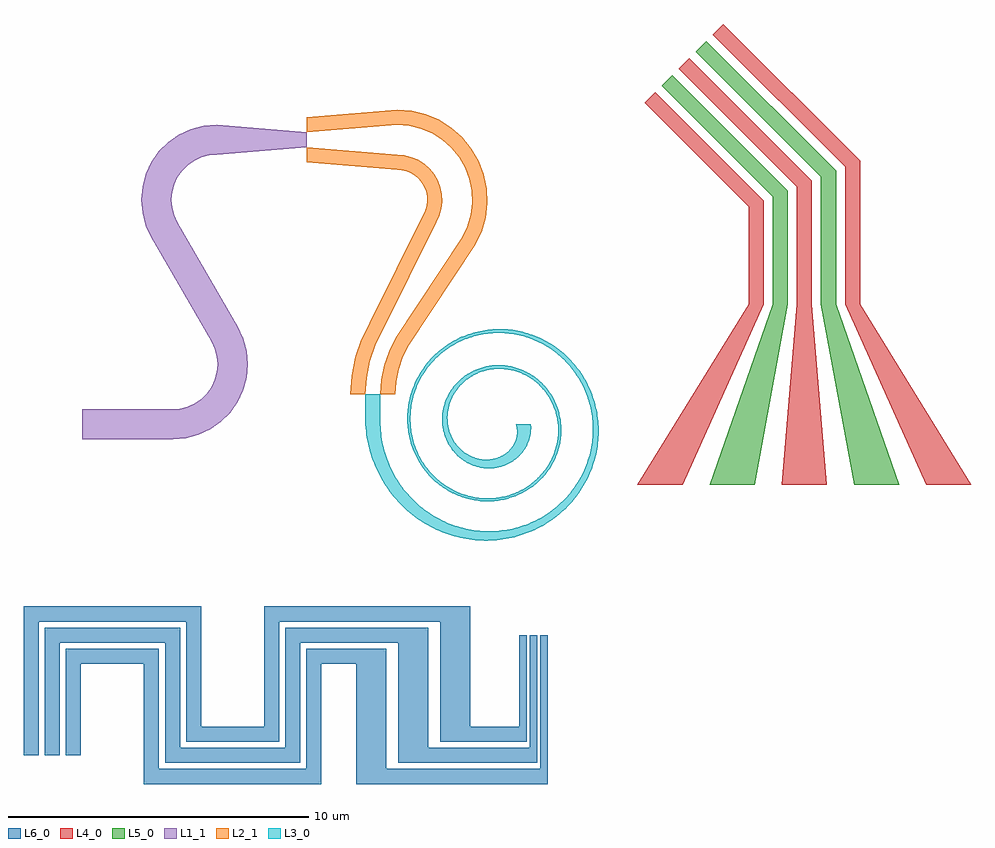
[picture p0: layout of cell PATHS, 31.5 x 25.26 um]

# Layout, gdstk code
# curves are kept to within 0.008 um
import gdstk
lib = gdstk.Library(unit=1e-6, precision=1e-09)
def R(c, l, rs):  # rectangles x0, y0, x1, y1
    for r in rs: c.add(gdstk.rectangle(r[:2], r[2:], *l))
def P(c, l, *ps):  # polygons
    for p in ps: c.add(gdstk.Polygon(p, *l))
L1_1 = (1, 1)
L2_1 = (2, 1)
L3_0 = (3, 0)
L4_0 = (4, 0)
L5_0 = (5, 0)
L6_0 = (6, 0)

paths = lib.new_cell('PATHS')
R(paths, L1_1, [(0,-0.5,3,0.5)])
P(paths, L1_1, [(3,-0.5),(3.434,-0.462),(3.855,-0.349),(4.25,-0.165),(4.607,0.085),(4.915,0.393),(5.165,0.75),(5.349,1.145),(5.462,1.566),(5.5,2),(5.462,2.434),(5.349,2.855),(5.165,3.25),(4.299,2.75),(4.41,2.513),(4.477,2.26),(4.5,2),(4.477,1.74),(4.41,1.487),(4.299,1.25),(4.149,1.036),(3.964,0.851),(3.75,0.701),(3.513,0.59),(3.26,0.523),(3,0.5)],
  [(4.299,2.75),(5.165,3.25),(3.165,6.714),(2.299,6.214)],
  [(2.299,6.214),(2.115,6.609),(2.002,7.03),(1.964,7.464),(2.002,7.898),(2.115,8.319),(2.299,8.714),(2.549,9.071),(2.857,9.379),(3.214,9.629),(3.609,9.813),(4.03,9.926),(4.464,9.964),(4.464,8.964),(4.204,8.941),(3.951,8.874),(3.714,8.763),(3.5,8.613),(3.315,8.428),(3.165,8.214),(3.055,7.977),(2.987,7.725),(2.964,7.464),(2.987,7.204),(3.055,6.951),(3.165,6.714)],
  [(4.464,9.964),(4.464,8.964),(7.464,9.214),(7.464,9.714)])
P(paths, L2_1, [(7.464,10.214),(7.464,9.714),(10.464,9.964),(10.464,10.464)],
  [(7.464,9.214),(7.464,8.714),(10.464,8.464),(10.464,8.964)],
  [(10.464,8.964),(10.705,8.945),(10.939,8.887),(11.161,8.792),(11.365,8.663),(11.546,8.503),(11.699,8.316),(11.819,8.107),(11.905,7.881),(11.953,7.645),(11.963,7.404),(11.934,7.164),(11.867,6.932),(11.763,6.714),(11.33,6.964),(11.399,7.109),(11.444,7.264),(11.463,7.424),(11.457,7.585),(11.425,7.742),(11.368,7.893),(11.287,8.032),(11.185,8.157),(11.065,8.264),(10.929,8.35),(10.781,8.413),(10.625,8.451),(10.464,8.464)],
  [(10.464,10.464),(10.945,10.425),(11.414,10.31),(11.858,10.12),(12.266,9.862),(12.628,9.542),(12.933,9.168),(13.174,8.75),(13.346,8.299),(13.442,7.826),(13.462,7.343),(13.403,6.864),(13.269,6.4),(13.062,5.964),(12.629,6.214),(12.802,6.578),(12.914,6.964),(12.962,7.363),(12.946,7.765),(12.865,8.16),(12.723,8.536),(12.522,8.884),(12.267,9.196),(11.966,9.463),(11.626,9.678),(11.256,9.835),(10.865,9.932),(10.464,9.964)],
  [(13.062,5.964),(12.629,6.214),(10.413,2.875),(10.846,2.625)],
  [(11.763,6.714),(11.33,6.964),(9.547,3.375),(9.98,3.125)],
  [(10.413,2.875),(10.196,2.435),(10.038,1.971),(9.942,1.489),(9.91,1),(10.41,1),(10.438,1.424),(10.521,1.841),(10.658,2.244),(10.846,2.625)],
  [(9.547,3.375),(9.272,2.818),(9.072,2.229),(8.951,1.62),(8.91,1),(9.41,1),(9.447,1.555),(9.555,2.1),(9.734,2.626),(9.98,3.125)])
R(paths, L3_0, [(9.41,0,9.91,1)])
P(paths, L3_0, [(9.91,0),(9.931,-0.294),(9.975,-0.585),(10.041,-0.87),(10.13,-1.149),(10.24,-1.419),(10.37,-1.68),(10.521,-1.928),(10.69,-2.163),(10.877,-2.383),(11.08,-2.587),(11.298,-2.774),(11.529,-2.943),(11.772,-3.092),(12.026,-3.222),(12.288,-3.33),(12.558,-3.418),(13.017,-3.515),(13.297,-3.543),(13.576,-3.55),(13.855,-3.534),(14.131,-3.497),(14.402,-3.438),(14.666,-3.358),(14.923,-3.258),(15.25,-3.094),(15.482,-2.949),(15.701,-2.788),(15.971,-2.547),(16.155,-2.349),(16.375,-2.065),(16.518,-1.839),(16.705,-1.959),(16.556,-2.203),(16.387,-2.435),(16.133,-2.725),(15.922,-2.925),(15.616,-3.167),(15.37,-3.327),(15.11,-3.468),(14.839,-3.589),(14.557,-3.688),(14.268,-3.766),(13.972,-3.82),(13.569,-3.857),(13.264,-3.857),(12.959,-3.832),(12.655,-3.784),(12.355,-3.711),(11.962,-3.578),(11.676,-3.45),(11.4,-3.3),(11.05,-3.065),(10.803,-2.864),(10.572,-2.644),(10.29,-2.321),(10.101,-2.059),(9.88,-1.686),(9.784,-1.491),(9.659,-1.187),(9.589,-0.979),(9.504,-0.659),(9.461,-0.442),(9.419,-0.111),(9.41,0)],
  [(16.518,-1.839),(16.643,-1.602),(16.748,-1.358),(16.834,-1.107),(16.899,-0.851),(16.943,-0.592),(16.967,-0.331),(16.96,0.104),(16.929,0.361),(16.878,0.615),(16.807,0.862),(16.717,1.103),(16.609,1.334),(16.483,1.555),(16.341,1.765),(16.184,1.962),(16.012,2.145),(15.827,2.313),(15.63,2.466),(15.422,2.602),(15.205,2.72),(14.981,2.821),(14.75,2.903),(14.515,2.966),(14.117,3.03),(13.876,3.042),(13.636,3.036),(13.321,2.998),(13.013,2.927),(12.716,2.826),(12.433,2.694),(12.385,2.8),(12.678,2.938),(12.908,3.021),(13.146,3.087),(13.388,3.133),(13.635,3.161),(13.969,3.168),(14.219,3.149),(14.469,3.111),(14.717,3.053),(14.96,2.976),(15.197,2.879),(15.428,2.763),(15.721,2.58),(15.928,2.422),(16.124,2.247),(16.306,2.057),(16.526,1.78),(16.672,1.557),(16.8,1.322),(16.91,1.077),(17.001,0.822),(17.092,0.471),(17.135,0.201),(17.157,-0.073),(17.158,-0.35),(17.125,-0.719),(17.052,-1.085),(16.942,-1.443),(16.834,-1.705),(16.705,-1.959)],
  [(12.433,2.694),(12.104,2.49),(11.922,2.348),(11.752,2.194),(11.596,2.027),(11.454,1.849),(11.328,1.661),(11.217,1.465),(11.122,1.262),(11.044,1.054),(10.984,0.84),(10.94,0.624),(10.914,0.406),(10.905,0.188),(10.914,-0.029),(10.939,-0.243),(11.04,-0.659),(11.114,-0.858),(11.203,-1.05),(11.306,-1.233),(11.423,-1.406),(11.553,-1.569),(11.694,-1.72),(11.845,-1.858),(12.007,-1.984),(12.293,-2.162),(12.536,-2.275),(12.787,-2.361),(13.044,-2.42),(13.304,-2.452),(13.29,-2.551),(13.087,-2.528),(12.819,-2.474),(12.621,-2.414),(12.428,-2.338),(12.179,-2.213),(12,-2.101),(11.83,-1.975),(11.669,-1.835),(11.519,-1.683),(11.381,-1.518),(11.217,-1.28),(11.11,-1.09),(11.018,-0.891),(10.941,-0.684),(10.881,-0.471),(10.837,-0.252),(10.806,0.045),(10.803,0.271),(10.818,0.497),(10.851,0.723),(10.902,0.946),(10.971,1.166),(11.057,1.381),(11.161,1.59),(11.281,1.79),(11.466,2.044),(11.623,2.221),(11.795,2.387),(12.109,2.633),(12.385,2.8)],
  [(13.304,-2.452),(13.628,-2.452),(14.008,-2.397),(14.371,-2.284),(14.543,-2.208),(14.707,-2.118),(15.008,-1.903),(15.269,-1.647),(15.483,-1.356),(15.646,-1.04),(15.756,-0.706),(15.811,-0.364),(15.811,-0.023),(15.77,0.256),(15.728,0.418),(15.654,0.626),(15.584,0.775),(15.474,0.962),(15.38,1.094),(15.24,1.255),(15.085,1.399),(14.96,1.495),(15.034,1.579),(15.206,1.44),(15.325,1.323),(15.537,1.06),(15.708,0.763),(15.795,0.549),(15.846,0.382),(15.909,0.035),(15.92,-0.202),(15.911,-0.381),(15.852,-0.739),(15.781,-0.973),(15.711,-1.143),(15.53,-1.469),(15.297,-1.766),(15.016,-2.025),(14.86,-2.139),(14.638,-2.271),(14.401,-2.38),(14.215,-2.445),(13.958,-2.51),(13.76,-2.541),(13.56,-2.556),(13.29,-2.551)],
  [(14.96,1.495),(14.739,1.63),(14.506,1.734),(14.214,1.814),(13.919,1.847),(13.675,1.839),(13.391,1.787),(13.124,1.692),(12.88,1.558),(12.665,1.39),(12.511,1.228),(12.359,1.012),(12.245,0.779),(12.164,0.496),(12.138,0.209),(12.165,-0.071),(12.204,-0.223),(12.273,-0.404),(12.079,-0.46),(11.992,-0.167),(11.959,0.143),(11.977,0.414),(12.053,0.727),(12.165,0.984),(12.318,1.225),(12.509,1.441),(12.777,1.655),(13.038,1.799),(13.323,1.902),(13.624,1.959),(13.936,1.969),(14.093,1.955),(14.301,1.917),(14.455,1.874),(14.656,1.797),(14.85,1.698),(15.034,1.579)],
  [(12.273,-0.404),(12.385,-0.601),(12.5,-0.747),(12.63,-0.873),(12.773,-0.978),(12.926,-1.061),(13.117,-1.13),(13.311,-1.166),(13.471,-1.171),(13.687,-1.142),(13.859,-1.086),(14.038,-0.99),(14.169,-0.884),(14.292,-0.742),(14.381,-0.585),(14.439,-0.397),(14.452,-0.235),(14.891,-0.365),(14.824,-0.594),(14.714,-0.81),(14.564,-1.007),(14.406,-1.153),(14.257,-1.257),(14.024,-1.369),(13.77,-1.437),(13.541,-1.459),(13.27,-1.439),(13.002,-1.368),(12.747,-1.247),(12.546,-1.105),(12.395,-0.962),(12.262,-0.799),(12.171,-0.655),(12.079,-0.46)],
  [(14.452,-0.235),(14.446,-0.146),(14.41,0),(14.91,0),(14.915,-0.165),(14.891,-0.365)])
P(paths, L4_0, [(18.692,10.692),(22.15,7.234),(22.15,4),(18.45,-2),(19.95,-2),(22.65,4),(22.65,7.441),(19.045,11.045)],
  [(19.823,11.823),(23.75,7.896),(23.75,4),(23.25,-2),(24.75,-2),(24.25,4),(24.25,8.104),(20.177,12.177)],
  [(20.955,12.955),(25.35,8.559),(25.35,4),(28.05,-2),(29.55,-2),(25.85,4),(25.85,8.766),(21.308,13.308)])
P(paths, L5_0, [(19.258,11.258),(22.95,7.565),(22.95,4),(20.85,-2),(22.35,-2),(23.45,4),(23.45,7.772),(19.611,11.611)],
  [(20.389,12.389),(24.55,8.228),(24.55,4),(25.65,-2),(27.15,-2),(25.05,4),(25.05,8.435),(20.742,12.742)])
P(paths, L6_0, [(-0.05,-11),(-0.05,-7.95),(2.05,-7.95),(2.05,-11.95),(7.95,-11.95),(7.95,-7.95),(9.1,-7.95),(9.1,-11.95),(15.475,-11.95),(15.475,-7),(15.225,-7),(15.225,-11.45),(10.1,-11.45),(10.1,-7.45),(7.45,-7.45),(7.45,-11.45),(2.55,-11.45),(2.55,-7.45),(-0.55,-7.45),(-0.55,-11)],
  [(-0.75,-11),(-0.75,-7.25),(2.75,-7.25),(2.75,-11.25),(7.25,-11.25),(7.25,-7.25),(10.5,-7.25),(10.5,-11.25),(15.125,-11.25),(15.125,-7),(14.875,-7),(14.875,-10.75),(11.5,-10.75),(11.5,-6.75),(6.75,-6.75),(6.75,-10.75),(3.25,-10.75),(3.25,-6.75),(-1.25,-6.75),(-1.25,-11)],
  [(-1.45,-11),(-1.45,-6.55),(3.45,-6.55),(3.45,-10.55),(6.55,-10.55),(6.55,-6.55),(11.9,-6.55),(11.9,-10.55),(14.775,-10.55),(14.775,-7),(14.525,-7),(14.525,-10.05),(12.9,-10.05),(12.9,-6.05),(6.05,-6.05),(6.05,-10.05),(3.95,-10.05),(3.95,-6.05),(-1.95,-6.05),(-1.95,-11)])

lib.write_gds('PATHS.gds')
